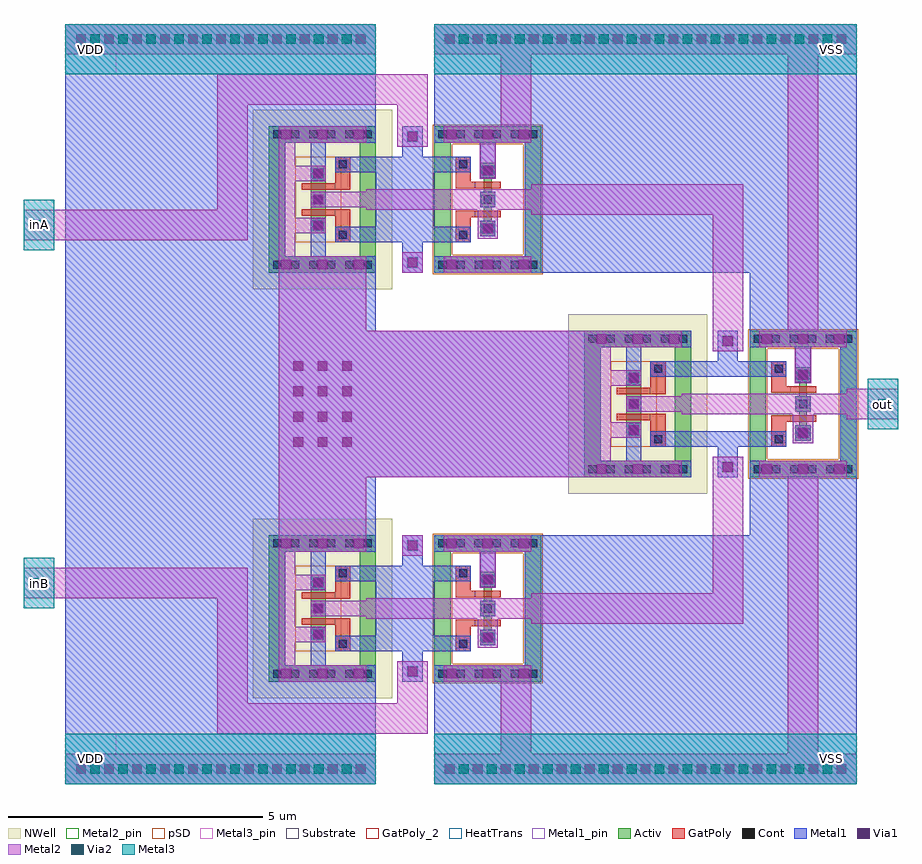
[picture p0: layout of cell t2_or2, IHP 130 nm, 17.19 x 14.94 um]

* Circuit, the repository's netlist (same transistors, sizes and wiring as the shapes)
** sch_path: /foss/designs/PROJECTS/cmos-pll-ihp-sg13g2/Team 2 Design/design_data/xschem/t2_or2.sch
.subckt t2_or2 VDD VSS inA inB out
*.PININFO VSS:B inA:I inB:I out:O VDD:B
x2 VDD inA inA net2 VSS t2_nand2
x3 VDD inB inB net1 VSS t2_nand2
x4 VDD net2 net1 out VSS t2_nand2
.ends

* expanding   symbol:  t2_nand2.sym # of pins=5
** sym_path: /foss/designs/PROJECTS/cmos-pll-ihp-sg13g2/Team 2 Design/design_data/xschem/t2_nand2.sym
** sch_path: /foss/designs/PROJECTS/cmos-pll-ihp-sg13g2/Team 2 Design/design_data/xschem/t2_nand2.sch
.subckt t2_nand2 VDD inA inB out VSS
*.PININFO VSS:B inA:I inB:I out:O VDD:B
M1 out inA VDD VDD sg13_lv_pmos w=0.3u l=0.13u ng=1 m=1
M2 out inB VDD VDD sg13_lv_pmos w=0.3u l=0.13u ng=1 m=1
M3 out inB net1 VSS sg13_lv_nmos w=0.15u l=0.13u ng=1 m=1
M4 net1 inA VSS VSS sg13_lv_nmos w=0.15u l=0.13u ng=1 m=1
.ends

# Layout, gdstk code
from math import pi, radians
import gdstk
lib = gdstk.Library(unit=1e-6, precision=1e-09)
def R(c, l, rs):  # rectangles x0, y0, x1, y1
    for r in rs: c.add(gdstk.rectangle(r[:2], r[2:], *l))
def A(c, l, x, y, w, h, nx, ny, dx, dy):  # array of equal rectangles
    R(c, l, [(x+i*dx, y+j*dy, x+i*dx+w, y+j*dy+h) for i in range(nx) for j in range(ny)])
Activ = (1, 0)
GatPoly = (5, 0)
GatPoly_2 = (5, 2)
Cont = (6, 0)
Metal1 = (8, 0)
Metal1_pin = (8, 2)
Metal2 = (10, 0)
Metal2_pin = (10, 2)
pSD = (14, 0)
Via1 = (19, 0)
Via2 = (29, 0)
Metal3 = (30, 0)
Metal3_pin = (30, 2)
NWell = (31, 0)
Substrate = (40, 0)
HeatTrans = (51, 0)

pmos = lib.new_cell('pmos')
R(pmos, Activ, [(0,0,0.3,0.3), (0,0,0.81,0.3), (0.51,0,0.81,0.3)])
R(pmos, GatPoly, [(0.34,-0.18,0.47,0.48), (0.34,-0.18,0.47,0.48)])
R(pmos, Cont, [(0.07,0.07,0.23,0.23), (0.58,0.07,0.74,0.23)])
R(pmos, Metal1, [(0.07,0,0.23,0.3), (0.07,0,0.23,0.3), (0.58,0,0.74,0.3), (0.58,0,0.74,0.3)])
R(pmos, pSD, [(-0.18,-0.3,0.99,0.6)])
R(pmos, NWell, [(-0.31,-0.31,1.12,0.61)])
R(pmos, Substrate, [(0.51,0,0.81,0.3)])
R(pmos, HeatTrans, [(0.34,-0.18,0.47,0.48)])
pmos.add(gdstk.Label('pmos', (0.405,0.15), layer=63, texttype=0))
pmos.add(gdstk.Label('pmos', (0.405,0.15), layer=51, texttype=0))

nmos = lib.new_cell('nmos')
R(nmos, Activ, [(0,0,0.3,0.3), (0.57,0,0.87,0.3), (0,0.075,0.87,0.225)])
R(nmos, GatPoly, [(0.37,-0.105,0.5,0.405)])
R(nmos, GatPoly_2, [(0.37,-0.105,0.5,0.405)])
R(nmos, Cont, [(0.07,0.07,0.23,0.23), (0.64,0.07,0.8,0.23)])
R(nmos, Metal1, [(0.07,0.02,0.23,0.28), (0.64,0.02,0.8,0.28)])
R(nmos, Metal1_pin, [(0.07,0.02,0.23,0.28), (0.64,0.02,0.8,0.28)])
R(nmos, HeatTrans, [(0.37,-0.105,0.5,0.405)])
nmos.add(gdstk.Label('nmos', (0.435,0.15), layer=63, texttype=0))
nmos.add(gdstk.Label('nmos', (0.435,0.15), layer=51, texttype=0))

t2_nand2 = lib.new_cell('t2_nand2')
R(t2_nand2, Activ, [(-6.22,-2.335,-3.66,-2.015), (-3.66,-2.335,-3.34,-0.555), (-6.22,-2.015,-5.9,-0.235), (-5.9,-0.555,-3.34,-0.235), (-6.22,0.915,-3.66,1.235), (-3.66,0.915,-3.34,2.695), (-6.22,1.235,-5.9,3.015), (-5.9,2.695,-3.34,3.015)])
R(t2_nand2, GatPoly, [(-5.13,-1.03,-5,-0.955), (-4.56,-1.03,-4.43,-0.955), (-5.62,-0.955,-5,-0.655), (-4.56,-0.955,-3.94,-0.655), (-5.62,1.415,-4.97,1.715), (-4.59,1.415,-3.94,1.715)])
A(t2_nand2, Cont, -3.58, -2.255, 0.16, 0.16, 1, 5, 0, 0.355)
A(t2_nand2, Cont, -6.14, -1.895, 0.16, 0.16, 1, 5, 0, 0.355)
A(t2_nand2, Cont, -6.14, 1.355, 0.16, 0.16, 1, 5, 0, 0.355)
A(t2_nand2, Cont, -3.58, 1.355, 0.16, 0.16, 1, 5, 0, 0.355)
R(t2_nand2, Cont, [(-6.14,-2.255,-5.98,-2.095), (-5.55,-0.885,-5.39,-0.725), (-4.17,-0.885,-4.01,-0.725), (-3.58,-0.475,-3.42,-0.315), (-6.14,0.995,-5.98,1.155), (-3.58,0.995,-3.42,1.155), (-5.55,1.485,-5.39,1.645), (-4.17,1.485,-4.01,1.645)])
R(t2_nand2, Metal1, [(-6.22,-2.335,-5.9,-0.235), (-5.9,-2.335,-3.66,-2.015), (-3.66,-2.335,-3.34,-0.235), (-5.9,-1.435,-5.205,-1.135), (-4.93,-1.435,-4.63,-1.135), (-4.36,-1.435,-4.06,-1.135), (-5.62,-0.955,-5.32,1.715), (-4.24,-0.955,-3.94,1.715), (-6.22,-0.005,-5.62,0.395), (-3.94,-0.005,-3.34,0.395), (-6.22,0.915,-5.9,3.015), (-3.66,0.915,-3.34,3.015), (-5.9,1.895,-5.145,2.195), (-4.93,1.895,-4.63,2.195), (-4.415,1.895,-3.66,2.195), (-5.9,2.695,-3.66,3.015)])
R(t2_nand2, Metal2, [(-6.22,-2.14,-5.9,-0.425), (-4.98,-2.14,-4.58,1.105), (-3.66,-2.14,-3.34,-0.425), (-4.58,-1.485,-4.01,-1.085), (-5.9,-1.445,-5.19,-1.125), (-6.22,-0.005,-5.82,0.395), (-3.74,-0.005,-3.34,0.395), (-6.22,1.105,-5.9,2.82), (-4.93,1.105,-4.63,2.19), (-3.66,1.105,-3.34,2.82), (-5.44,1.9,-5.14,2.5), (-4.42,1.9,-4.12,2.5), (-5.9,2.5,-3.66,2.82)])
R(t2_nand2, Metal2_pin, [(-5.455,-1.39,-5.245,-1.18), (-4.315,-1.39,-4.105,-1.18), (-6.125,0.09,-5.915,0.3), (-3.645,0.09,-3.435,0.3), (-5.395,1.94,-5.185,2.15), (-4.375,1.94,-4.165,2.15)])
R(t2_nand2, pSD, [(-6.25,-2.365,-3.69,-1.985), (-3.69,-2.365,-3.31,-0.585), (-6.25,-1.985,-5.87,-0.205), (-5.87,-0.585,-3.31,-0.205)])
A(t2_nand2, Via1, -5.385, 1.95, 0.19, 0.19, 3, 1, 0.51, 0)
R(t2_nand2, Via1, [(-6.155,-2.09,-5.965,-1.9), (-3.595,-2.09,-3.405,-1.9), (-5.445,-1.38,-5.255,-1.19), (-4.305,-1.38,-4.115,-1.19), (-3.595,-1.38,-3.405,-1.19), (-6.155,-1.375,-5.965,-1.185), (-6.155,-0.665,-5.965,-0.475), (-3.595,-0.665,-3.405,-0.475), (-6.115,0.1,-5.925,0.29), (-3.635,0.1,-3.445,0.29), (-6.155,1.155,-5.965,1.345), (-3.595,1.155,-3.405,1.345), (-6.155,1.87,-5.965,2.06), (-3.595,1.87,-3.405,2.06), (-6.155,2.58,-5.965,2.77), (-3.595,2.58,-3.405,2.77)])
R(t2_nand2, NWell, [(-6.54,0.595,-3.02,3.335)])
t2_nand2.add(gdstk.Reference(pmos, (-5.44,1.895)))
t2_nand2.add(gdstk.Reference(pmos, (-4.93,1.895)))
t2_nand2.add(gdstk.Reference(nmos, (-5.5,-1.435)))
t2_nand2.add(gdstk.Reference(nmos, (-4.93,-1.435)))
t2_nand2.add(gdstk.Label('VDD', (-5.29,2.045), layer=10, texttype=2))
t2_nand2.add(gdstk.Label('VDD', (-4.27,2.045), layer=10, texttype=2))
t2_nand2.add(gdstk.Label('VSS', (-5.35,-1.285), layer=10, texttype=2))
t2_nand2.add(gdstk.Label('out', (-4.21,-1.285), layer=10, texttype=2))
t2_nand2.add(gdstk.Label('inA', (-6.02,0.195), layer=10, texttype=2))
t2_nand2.add(gdstk.Label('inB', (-3.54,0.195), layer=10, texttype=2))

t2_or2 = lib.new_cell('t2_or2')
R(t2_or2, Metal1, [(-5.545,-5.845,0.555,-3.835), (1.705,-5.845,10.005,-3.835), (-5.545,-3.835,-1.545,7.085), (3.805,-3.835,7.905,-0.955), (7.905,-3.835,10.005,0.185), (0.555,-2.935,1.705,-1.855), (-1.545,-0.955,0.555,0.185), (-1.545,0.185,4.655,3.065), (-1.545,3.065,0.555,4.205), (7.905,3.065,10.005,7.085), (3.805,4.205,7.905,7.085), (0.555,5.105,1.705,6.185), (-5.545,7.085,0.555,9.095), (1.705,7.085,10.005,9.095)])
R(t2_or2, Metal2, [(-5.545,-5.845,0.555,-5.255), (1.705,-5.845,10.005,-5.255), (3.01,-5.255,3.61,-3.835), (8.655,-5.255,9.255,0.185), (-2.565,-4.855,-1.965,-1.595), (-1.965,-4.855,0.975,-4.255), (0.975,-4.855,1.575,-3.435), (3.61,-2.695,7.175,-2.095), (7.175,-2.695,7.775,0.585), (-6.365,-2.195,-2.565,-1.595), (-1.35,-0.955,0.365,4.205), (0.365,0.185,4.85,3.065), (9.81,1.325,10.825,1.925), (7.175,2.665,7.775,5.945), (8.655,3.065,9.255,8.505), (-6.365,4.845,-2.565,5.445), (-2.565,4.845,-1.965,8.105), (3.61,5.345,7.175,5.945), (0.975,6.685,1.575,8.105), (3.01,7.085,3.61,8.505), (-1.965,7.505,0.975,8.105), (-5.545,8.505,0.555,9.095), (1.705,8.505,10.005,9.095)])
A(t2_or2, Via1, -5.335, -5.645, 0.19, 0.19, 11, 2, 0.55, 14.35)
A(t2_or2, Via1, 1.915, -5.645, 0.19, 0.19, 15, 2, 0.55, 14.35)
A(t2_or2, Via1, -1.065, 0.78, 0.19, 0.19, 3, 4, 0.48, 0.5)
A(t2_or2, Via2, -5.06, -5.645, 0.19, 0.19, 10, 2, 0.55, 14.35)
A(t2_or2, Via2, 2.19, -5.645, 0.19, 0.19, 14, 2, 0.55, 14.35)
R(t2_or2, Via2, [(-6.16,-1.99,-5.97,-1.8), (10.43,1.53,10.62,1.72), (-6.16,5.05,-5.97,5.24)])
R(t2_or2, Metal3, [(-5.545,-5.845,0.555,-4.855), (1.705,-5.845,10.005,-4.855), (-6.365,-2.395,-5.765,-1.395), (10.225,1.125,10.825,2.125), (-6.365,4.645,-5.765,5.645), (-5.545,8.105,0.555,9.095), (1.705,8.105,10.005,9.095)])
R(t2_or2, Metal3_pin, [(-5.545,-5.845,-4.545,-4.855), (9.005,-5.845,10.005,-4.855), (-6.365,-2.195,-5.765,-1.595), (10.225,1.325,10.825,1.925), (-6.365,4.845,-5.765,5.445), (-5.545,8.105,-4.545,9.095), (9.005,8.105,10.005,9.095)])
t2_or2.add(gdstk.Reference(t2_nand2, (7.67,-3.155), rotation=3*pi/2, x_reflection=True))
t2_or2.add(gdstk.Reference(t2_nand2, (1.47,-7.175), rotation=3*pi/2, x_reflection=True))
t2_or2.add(gdstk.Reference(t2_nand2, (1.47,0.865), rotation=3*pi/2, x_reflection=True))
t2_or2.add(gdstk.Label('inA', (-6.065,5.145), layer=30, texttype=2))
t2_or2.add(gdstk.Label('inB', (-6.065,-1.895), layer=30, texttype=2))
t2_or2.add(gdstk.Label('out', (10.525,1.625), layer=30, texttype=2))
t2_or2.add(gdstk.Label('VSS', (9.505,8.6), layer=30, texttype=2))
t2_or2.add(gdstk.Label('VSS', (9.505,-5.35), layer=30, texttype=2))
t2_or2.add(gdstk.Label('VDD', (-5.045,8.6), layer=30, texttype=2))
t2_or2.add(gdstk.Label('VDD', (-5.045,-5.35), layer=30, texttype=2))

lib.write_gds('t2_or2.gds')
